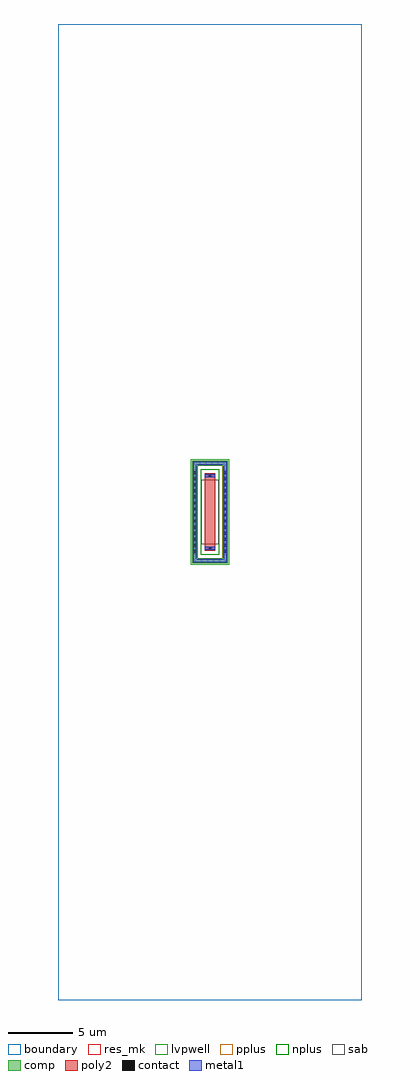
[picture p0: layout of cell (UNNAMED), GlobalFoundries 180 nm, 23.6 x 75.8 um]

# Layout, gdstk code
import gdstk
lib = gdstk.Library(unit=1e-6, precision=1e-09)
def R(c, l, rs):  # rectangles x0, y0, x1, y1
    for r in rs: c.add(gdstk.rectangle(r[:2], r[2:], *l))
def A(c, l, x, y, w, h, nx, ny, dx, dy):  # array of equal rectangles
    R(c, l, [(x+i*dx, y+j*dy, x+i*dx+w, y+j*dy+h) for i in range(nx) for j in range(ny)])
boundary = (0, 0)
comp = (22, 0)
poly2 = (30, 0)
pplus = (31, 0)
nplus = (32, 0)
contact = (33, 0)
metal1 = (34, 0)
sab = (49, 0)
res_mk = (110, 5)
lvpwell = (204, 0)

c__unnamed_ = lib.new_cell('(UNNAMED)')
R(c__unnamed_, boundary, [(-11.8,-37.9,11.8,37.9)])
R(c__unnamed_, comp, [(-1.36,-3.97,1.36,-3.61), (-1.36,-3.61,-1,3.61), (1,-3.61,1.36,3.61), (-1.36,3.61,1.36,3.97)])
R(c__unnamed_, poly2, [(-0.4,-3.01,0.4,3.01)])
R(c__unnamed_, pplus, [(-1.38,-3.99,1.38,-3.59), (-1.38,-3.59,-0.97,-3.485), (0.97,-3.59,1.38,-3.485), (-1.39,-3.485,-0.97,3.485), (0.97,-3.485,1.39,3.485), (-1.38,3.485,-0.97,3.59), (0.97,3.485,1.38,3.59), (-1.38,3.59,1.38,3.99)])
R(c__unnamed_, nplus, [(-0.7,-3.31,0.7,3.31)])
A(c__unnamed_, contact, -1.29, -3.165, 0.22, 0.22, 1, 14, 0, 0.47)
A(c__unnamed_, contact, 1.07, -3.165, 0.22, 0.22, 1, 14, 0, 0.47)
R(c__unnamed_, contact, [(-0.11,-2.94,0.11,-2.72), (-0.11,2.72,0.11,2.94)])
R(c__unnamed_, metal1, [(-1.295,-3.905,1.295,-3.675), (-1.295,-3.675,-1.065,3.675), (1.065,-3.675,1.295,3.675), (-0.39,-2.945,0.39,-2.715), (-0.39,2.715,0.39,2.945), (-1.295,3.675,1.295,3.905)])
R(c__unnamed_, sab, [(-0.68,-2.5,0.68,2.5)])
R(c__unnamed_, res_mk, [(-0.4,-2.5,0.4,2.5)])
R(c__unnamed_, lvpwell, [(-1.48,-4.09,1.48,4.09)])

lib.write_gds('_UNNAMED_.gds')
